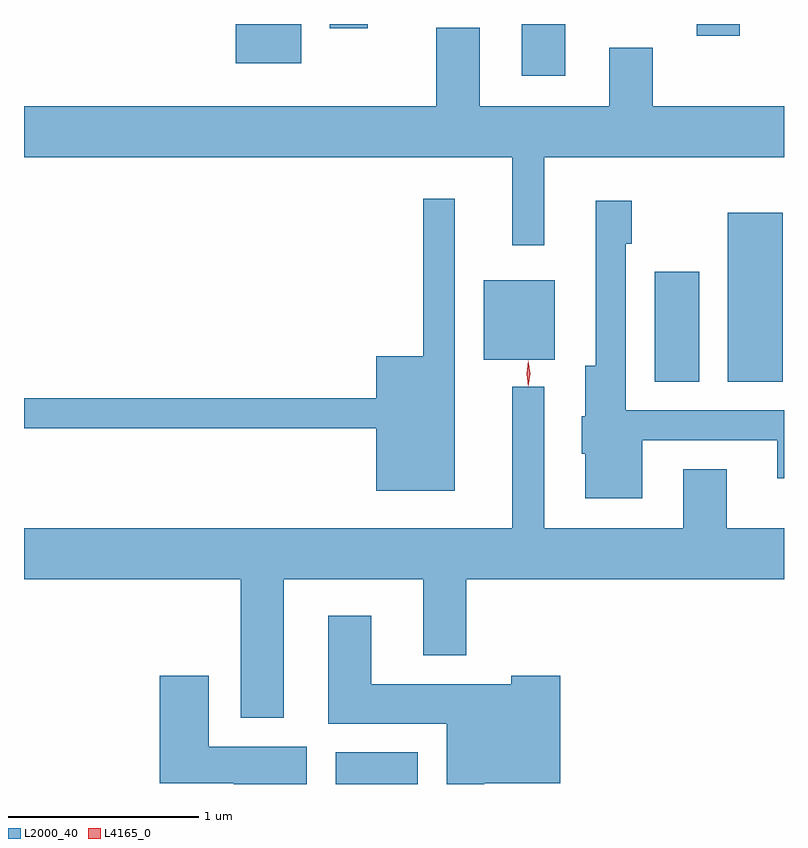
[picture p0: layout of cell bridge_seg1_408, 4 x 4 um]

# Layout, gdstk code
import gdstk
lib = gdstk.Library(unit=1e-6, precision=1e-09)
def R(c, l, rs):  # rectangles x0, y0, x1, y1
    for r in rs: c.add(gdstk.rectangle(r[:2], r[2:], *l))
def P(c, l, *ps):  # polygons
    for p in ps: c.add(gdstk.Polygon(p, *l))
L2000_40 = (2000, 40)
L4165_0 = (4165, 0)

bridge_seg1_408 = lib.new_cell('bridge_seg1_408')
R(bridge_seg1_408, L2000_40, [(327.931,940.678,328.364,940.844), (329.611,942.796,329.844,943.374), (329.996,942.796,330.284,943.684), (328.711,942.911,329.084,943.329), (328.911,944.406,329.139,944.678), (327.406,944.471,327.749,944.678), (329.831,944.616,330.059,944.678), (327.901,944.656,328.099,944.678)])
P(bridge_seg1_408, L2000_40, [(329.029,943.976),(330.291,943.976),(330.291,944.244),(329.599,944.244),(329.599,944.554),(329.371,944.554),(329.371,944.244),(328.689,944.244),(328.689,944.659),(328.461,944.659),(328.461,944.244),(326.291,944.244),(326.291,943.976),(328.861,943.976),(328.861,943.513),(329.029,943.513)],
  [(328.559,943.758),(328.391,943.758),(328.391,942.929),(328.146,942.929),(328.146,942.709),(326.291,942.709),(326.291,942.551),(328.146,942.551),(328.146,942.221),(328.559,942.221)],
  [(329.544,942.486),(330.256,942.486),(330.256,942.288),(330.291,942.288),(330.291,942.644),(329.459,942.644),(329.459,943.521),(329.489,943.521),(329.489,943.749),(329.301,943.749),(329.301,942.879),(329.246,942.879),(329.246,942.614),(329.226,942.614),(329.226,942.416),(329.246,942.416),(329.246,942.181),(329.544,942.181)],
  [(327.659,941.756),(328.391,941.756),(328.391,941.356),(328.619,941.356),(328.619,941.756),(330.291,941.756),(330.291,942.024),(329.989,942.024),(329.989,942.334),(329.761,942.334),(329.761,942.024),(329.029,942.024),(329.029,942.768),(328.861,942.768),(328.861,942.024),(326.291,942.024),(326.291,941.756),(327.431,941.756),(327.431,941.026),(327.659,941.026)],
  [(328.714,940.681),(329.114,940.681),(329.114,941.249),(328.856,941.249),(328.856,941.204),(328.119,941.204),(328.119,941.564),(327.891,941.564),(327.891,940.996),(328.516,940.996),(328.516,940.678),(328.714,940.678)],
  [(327.779,940.874),(327.264,940.874),(327.264,941.249),(327.006,941.249),(327.006,940.681),(327.396,940.681),(327.396,940.678),(327.779,940.678)])
P(bridge_seg1_408, L4165_0, [(328.945,942.773),(328.945,942.773),(328.936,942.837),(328.945,942.901),(328.946,942.902),(328.946,942.901),(328.956,942.837),(328.946,942.773)],
  [(328.946,942.769),(328.945,942.77),(328.936,942.837),(328.945,942.906),(328.946,942.906),(328.946,942.906),(328.956,942.837),(328.946,942.77)])

lib.write_gds('bridge_seg1_408.gds')
